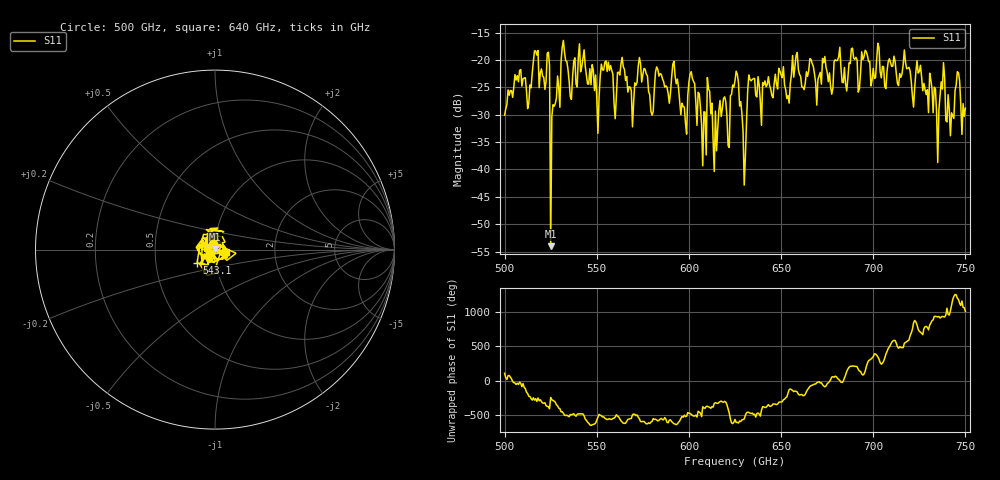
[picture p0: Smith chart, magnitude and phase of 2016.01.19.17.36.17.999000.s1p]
!Created with skrf (http://scikit-rf.org).
# GHz S RI R 50.0
!freq ReS11 ImS11
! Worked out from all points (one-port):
!   401 points, 500 GHz to 750 GHz, reference 50 ohm
!   lowest |S11| = -54.0 dB at 525 GHz (marker M1), VSWR 1.00, Z = 49.9 + j0.173 ohm
!   |S11| at or under -10 dB: start of sweep to end of sweep
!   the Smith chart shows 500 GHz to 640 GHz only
!   S11 on the Smith chart (normalised r, x): 500 GHz: 0.98, +0.06; 543.1 GHz: 0.81, -0.12; 640 GHz: 1.13, -0.03
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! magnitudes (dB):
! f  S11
! 500 GHz  -30.1
! 507.5 GHz  -24.0
! 513.1 GHz  -27.9
! 516.9 GHz  -18.4
! 523.1 GHz  -18.8
! 525 GHz  -54.0
! 526.2 GHz  -28.2
! 531.2 GHz  -17.7
! 543.1 GHz  -18.2
! 550 GHz  -26.9
! 562.5 GHz  -22.8
! 576.2 GHz  -21.7
! 579.4 GHz  -29.4
! 583.1 GHz  -21.7
! 593.8 GHz  -23.5
! 597.5 GHz  -28.6
! 601.9 GHz  -23.4
! 608.1 GHz  -29.5
! 611.2 GHz  -25.7
! 614.4 GHz  -29.4
! 625 GHz  -23.8
! 630 GHz  -42.9
! 633.1 GHz  -23.6
! 640 GHz  -24.1
! 656.2 GHz  -19.2
! 687.5 GHz  -20.7
! 718.8 GHz  -21.5
! 750 GHz  -28.8
